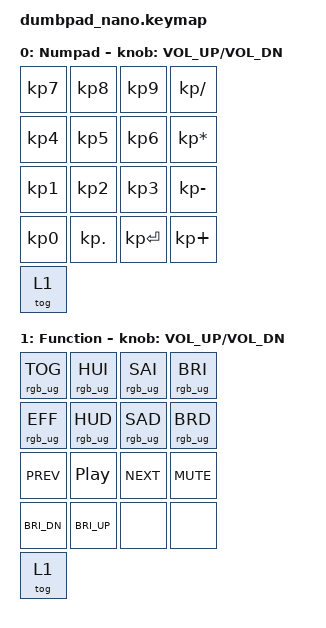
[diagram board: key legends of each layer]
#include <behaviors.dtsi>
#include <dt-bindings/zmk/keys.h>
#include <dt-bindings/zmk/rgb.h>

/ {
    keymap {
        compatible = "zmk,keymap";

        default_layer {
            label = "Numpad";
            bindings = <
                &kp KP_N7   &kp KP_N8   &kp KP_N9    &kp KP_SLASH
                &kp KP_N4   &kp KP_N5   &kp KP_N6    &kp KP_ASTERISK
                &kp KP_N1   &kp KP_N2   &kp KP_N3    &kp KP_MINUS
                &kp KP_N0   &kp KP_DOT  &kp KP_ENTER &kp KP_PLUS
                &tog 1
            >;
            sensor-bindings = <&inc_dec_kp C_VOL_UP C_VOL_DN>;
        };

        function_layer {
            label = "Function";
            bindings = <
                &rgb_ug RGB_TOG &rgb_ug RGB_HUI &rgb_ug RGB_SAI &rgb_ug RGB_BRI
                &rgb_ug RGB_EFF &rgb_ug RGB_HUD &rgb_ug RGB_SAD &rgb_ug RGB_BRD
                &kp C_PREV      &kp C_PP        &kp C_NEXT      &kp C_MUTE
                &kp C_BRI_DN    &kp C_BRI_UP    &none           &none
                &tog 1
            >;
            sensor-bindings = <&inc_dec_kp C_VOL_UP C_VOL_DN>;
        };
    };
};
